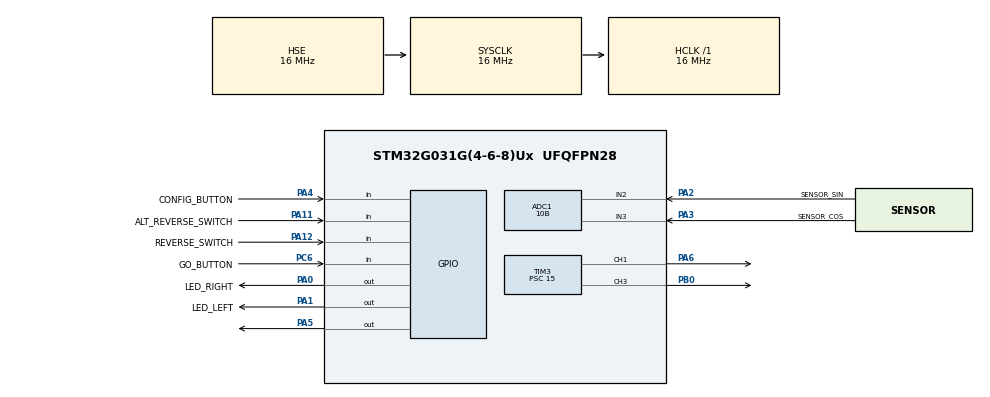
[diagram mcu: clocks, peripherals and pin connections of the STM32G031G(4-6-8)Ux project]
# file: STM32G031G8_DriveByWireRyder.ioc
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ADC1.ContinuousConvMode=ENABLE
ADC1.DMAContinuousRequests=DISABLE
ADC1.EOCSelection=ADC_EOC_SEQ_CONV
ADC1.NbrOfConversion=1
ADC1.NbrOfConversionFlag=0
ADC1.Overrun=ADC_OVR_DATA_OVERWRITTEN
ADC1.Resolution=ADC_RESOLUTION_10B
ADC1.SamplingTimeCommon1=ADC_SAMPLETIME_19CYCLES_5
ADC1.SelectedChannel=ADC_CHANNEL_2|ADC_CHANNEL_3
ADC1.Sequencer=NOT_FULLY_CONFIGURABLE
ADC1.master=1
Dma.ADC1.0.Direction=DMA_PERIPH_TO_MEMORY
Dma.ADC1.0.EventEnable=DISABLE
Dma.ADC1.0.Instance=DMA1_Channel1
Dma.ADC1.0.MemDataAlignment=DMA_MDATAALIGN_WORD
Dma.ADC1.0.MemInc=DMA_MINC_ENABLE
Dma.ADC1.0.Mode=DMA_NORMAL
Dma.ADC1.0.PeriphDataAlignment=DMA_PDATAALIGN_WORD
Dma.ADC1.0.PeriphInc=DMA_PINC_DISABLE
Dma.ADC1.0.Polarity=HAL_DMAMUX_REQ_GEN_RISING
Dma.ADC1.0.Priority=DMA_PRIORITY_LOW
Dma.ADC1.0.RequestNumber=1
Dma.ADC1.0.SignalID=NONE
Dma.ADC1.0.SyncEnable=DISABLE
Dma.ADC1.0.SyncPolarity=HAL_DMAMUX_SYNC_NO_EVENT
Dma.ADC1.0.SyncRequestNumber=1
Dma.ADC1.0.SyncSignalID=NONE
Dma.Request0=ADC1
Mcu.Family=STM32G0
Mcu.Name=STM32G031G(4-6-8)Ux
Mcu.Package=UFQFPN28
NVIC.DMA1_Channel1_IRQn=true\:0\:0\:false\:false\:true\:false\:true\:true
PA0.GPIO_Label=LED_RIGHT
PA0.PinState=GPIO_PIN_RESET
PA0.Signal=GPIO_Output
PA1.GPIO_Label=LED_LEFT
PA1.Signal=GPIO_Output
PA11\ [PA9].GPIO_Label=ALT_REVERSE_SWITCH
PA11\ [PA9].GPIO_PuPd=GPIO_PULLUP
PA11\ [PA9].Signal=GPIO_Input
PA12\ [PA10].GPIO_Label=REVERSE_SWITCH
PA12\ [PA10].GPIO_PuPd=GPIO_PULLUP
PA12\ [PA10].Signal=GPIO_Input
PA13.Mode=Serial_Wire
PA13.Signal=SYS_SWDIO
PA14-BOOT0.Mode=Serial_Wire
PA14-BOOT0.Signal=SYS_SWCLK
PA2.GPIO_Label=SENSOR_SIN
PA2.Signal=SharedAnalog_PA2
PA3.GPIO_Label=SENSOR_COS
PA3.Signal=SharedAnalog_PA3
PA4.GPIO_Label=CONFIG_BUTTON
PA4.GPIO_PuPd=GPIO_PULLUP
PA4.Signal=GPIO_Input
PA5.PinState=GPIO_PIN_SET
PA5.Signal=GPIO_Output
PA6.Signal=S_TIM3_CH1
PB0.Signal=S_TIM3_CH3
PC14-OSC32_IN\ (PC14).Mode=HSE-External-Clock-Source
PC14-OSC32_IN\ (PC14).Signal=RCC_OSC_IN
PC6.GPIO_Label=GO_BUTTON
PC6.GPIO_PuPd=GPIO_PULLUP
PC6.Signal=GPIO_Input
ProjectManager.HeapSize=0x200
ProjectManager.StackSize=0x400
ProjectManager.TargetToolchain=STM32CubeIDE
RCC.ADCFreq_Value=16000000
RCC.AHBFreq_Value=16000000
RCC.CortexFreq_Value=16000000
RCC.EXTERNAL_CLOCK_VALUE=12288000
RCC.HCLKFreq_Value=16000000
RCC.HSE_VALUE=16000000
RCC.HSI_VALUE=16000000
RCC.LSE_VALUE=32768
RCC.PLLSourceVirtual=RCC_PLLSOURCE_HSE
RCC.SYSCLKFreq_VALUE=16000000
RCC.SYSCLKSource=RCC_SYSCLKSOURCE_HSE
RCC.VCOOutputFreq_Value=128000000
SH.S_TIM3_CH1.0=TIM3_CH1,PWM Generation1 CH1
SH.S_TIM3_CH3.0=TIM3_CH3,PWM Generation3 CH3
SH.SharedAnalog_PA2.0=GPIO_Analog
SH.SharedAnalog_PA2.1=ADC1_IN2,IN2
SH.SharedAnalog_PA3.0=GPIO_Analog
SH.SharedAnalog_PA3.1=ADC1_IN3,IN3
TIM3.Channel-PWM\ Generation1\ CH1=TIM_CHANNEL_1
TIM3.Channel-PWM\ Generation3\ CH3=TIM_CHANNEL_3
TIM3.Period=1000
TIM3.Prescaler=15
TIM3.Pulse-PWM\ Generation1\ CH1=500
board=custom

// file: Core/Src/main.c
/* USER CODE BEGIN Header */
/**
  ******************************************************************************
  * @file           : main.c
  * @brief          : Main program body
  ******************************************************************************
  * @attention
  *
  * Copyright (c) 2026 STMicroelectronics.
  * All rights reserved.
  *
  * This software is licensed under terms that can be found in the LICENSE file
  * in the root directory of this software component.
  * If no LICENSE file comes with this software, it is provided AS-IS.
  *
  ******************************************************************************
  */
/* USER CODE END Header */
#include "main.h"

/* USER CODE BEGIN PD */
#define MIN_SIN_SENSOR	425
#define MAX_SIN_SENSOR	630
#define MIN_SENSOR	350
#define MAX_SENSOR	700

// Read the Go Button and Reverse Switch and select one of the three options
#define THROTTLE_OFF 500
#define THROTTLE_FORWARD 800
#define THROTTLE_REVERSE 200

// Take the reading from the magnetic sensor and apply it's reading to the
// range below.
#define STEERING_LEFT 200
#define STEERING_RIGHT 800

#define CONFIG_THRESHOLD 1000
/* USER CODE END PD */

ADC_HandleTypeDef hadc1;
DMA_HandleTypeDef hdma_adc1;

TIM_HandleTypeDef htim3;

void SystemClock_Config(void);
static void MX_GPIO_Init(void);
static void MX_DMA_Init(void);
static void MX_TIM3_Init(void);
static void MX_ADC1_Init(void);

/* USER CODE BEGIN 0 */
long map(long x, long in_min, long in_max, long out_min, long out_max) {
  return (x - in_min) * (out_max - out_min) / (in_max - in_min) + out_min;
}
/* USER CODE END 0 */

int main(void)
{

  /* USER CODE BEGIN 1 */
	uint16_t pwmSteering = (STEERING_LEFT + STEERING_RIGHT) / 2;
	uint16_t pwmThrottle = THROTTLE_OFF;
	int throttleOn = 0;

	uint32_t configPressStartTime;
	uint8_t isConfigPressed = 0;
	uint8_t isInConfig = 0;

	uint32_t sensorData[2];
	uint32_t prevRawCosData;
	uint32_t rawSinData;
	uint32_t rawCosData;
	uint32_t finalData;
	uint8_t  startupComplete = 0;
  /* USER CODE END 1 */

  /* MCU Configuration--------------------------------------------------------*/

  /* Reset of all peripherals, Initializes the Flash interface and the Systick. */
  HAL_Init();

  /* Configure the system clock */
  SystemClock_Config();

  /* Initialize all configured peripherals */
  MX_GPIO_Init();
  MX_DMA_Init();
  MX_TIM3_Init();
  MX_ADC1_Init();
  /* USER CODE BEGIN 2 */
  HAL_TIM_PWM_Start(&htim3, TIM_CHANNEL_1);
  HAL_TIM_PWM_Start(&htim3, TIM_CHANNEL_3);

  HAL_ADC_Start_DMA(&hadc1, sensorData, 2);
  /* USER CODE END 2 */

  /* Infinite loop */
  /* USER CODE BEGIN WHILE */
  while (1)
  {
		// Get ADC values
		rawSinData = sensorData[0];
		prevRawCosData = rawCosData;
		rawCosData = sensorData[1];

	  	if (! HAL_GPIO_ReadPin(CONFIG_BUTTON_GPIO_Port, CONFIG_BUTTON_Pin)) {
	  		if (!isConfigPressed) {
	  			isConfigPressed = 1;
	  			configPressStartTime = HAL_GetTick();
	  		}
	  		HAL_GPIO_WritePin(LED_LEFT_GPIO_Port, LED_LEFT_Pin, GPIO_PIN_SET);

	  		if (HAL_GetTick() - configPressStartTime > CONFIG_THRESHOLD) {
	  			isInConfig = 1;
	  			HAL_GPIO_WritePin(LED_RIGHT_GPIO_Port, LED_RIGHT_Pin, GPIO_PIN_SET);
	  		}
	  	} else {
	  		isConfigPressed = 0;
	  		HAL_GPIO_WritePin(LED_LEFT_GPIO_Port, LED_LEFT_Pin, GPIO_PIN_RESET);
	  	}

		/*
		if (rawSinData < MIN_SIN_SENSOR) {
			finalData += rawCosData - prevRawCosData;
		} else if (rawSinData > MAX_SIN_SENSOR) {
			finalData -= rawCosData - prevRawCosData;
		} else {
			finalData = rawSinData;
			startupComplete = 1;
		}
		*/

		finalData = rawSinData;
		startupComplete = 1;

		if (startupComplete) {
			pwmSteering = map(finalData, MIN_SENSOR, MAX_SENSOR, STEERING_LEFT, STEERING_RIGHT);
		} else {
			pwmSteering = (STEERING_LEFT + STEERING_RIGHT)  / 2;
		}

		if (pwmSteering > STEERING_RIGHT) {
			pwmSteering = STEERING_RIGHT;
		} else if (pwmSteering < STEERING_LEFT) {
			pwmSteering = STEERING_LEFT;
		}

		HAL_ADC_Start_DMA(&hadc1, sensorData, 2);

		throttleOn = ! HAL_GPIO_ReadPin(GO_BUTTON_GPIO_Port, GO_BUTTON_Pin);

		// No longer using the reverse switch on the steering column
		if (throttleOn) {
			pwmThrottle = THROTTLE_FORWARD;
		} else {
			pwmThrottle = THROTTLE_OFF;
		}

		__HAL_TIM_SET_COMPARE(&htim3, TIM_CHANNEL_3, pwmSteering);
		__HAL_TIM_SET_COMPARE(&htim3, TIM_CHANNEL_1, pwmThrottle);
    /* USER CODE END WHILE */

  }
}

void SystemClock_Config(void)
{
  RCC_OscInitTypeDef RCC_OscInitStruct = {0};
  RCC_ClkInitTypeDef RCC_ClkInitStruct = {0};

  /** Configure the main internal regulator output voltage
  */
  HAL_PWREx_ControlVoltageScaling(PWR_REGULATOR_VOLTAGE_SCALE1);

  /** Initializes the RCC Oscillators according to the specified parameters
  * in the RCC_OscInitTypeDef structure.
  */
  RCC_OscInitStruct.OscillatorType = RCC_OSCILLATORTYPE_HSE;
  RCC_OscInitStruct.HSEState = RCC_HSE_BYPASS;
  RCC_OscInitStruct.PLL.PLLState = RCC_PLL_NONE;
  if (HAL_RCC_OscConfig(&RCC_OscInitStruct) != HAL_OK)
  {
    Error_Handler();
  }

  /** Initializes the CPU, AHB and APB buses clocks
  */
  RCC_ClkInitStruct.ClockType = RCC_CLOCKTYPE_HCLK|RCC_CLOCKTYPE_SYSCLK
                              |RCC_CLOCKTYPE_PCLK1;
  RCC_ClkInitStruct.SYSCLKSource = RCC_SYSCLKSOURCE_HSE;
  RCC_ClkInitStruct.AHBCLKDivider = RCC_SYSCLK_DIV1;
  RCC_ClkInitStruct.APB1CLKDivider = RCC_HCLK_DIV1;

  if (HAL_RCC_ClockConfig(&RCC_ClkInitStruct, FLASH_LATENCY_0) != HAL_OK)
  {
    Error_Handler();
  }
}

static void MX_ADC1_Init(void)
{

  ADC_ChannelConfTypeDef sConfig = {0};

  /** Configure the global features of the ADC (Clock, Resolution, Data Alignment and number of conversion)
  */
  hadc1.Instance = ADC1;
  hadc1.Init.ClockPrescaler = ADC_CLOCK_SYNC_PCLK_DIV2;
  hadc1.Init.Resolution = ADC_RESOLUTION_10B;
  hadc1.Init.DataAlign = ADC_DATAALIGN_RIGHT;
  hadc1.Init.ScanConvMode = ADC_SCAN_SEQ_FIXED;
  hadc1.Init.EOCSelection = ADC_EOC_SEQ_CONV;
  hadc1.Init.LowPowerAutoWait = DISABLE;
  hadc1.Init.LowPowerAutoPowerOff = DISABLE;
  hadc1.Init.ContinuousConvMode = ENABLE;
  hadc1.Init.NbrOfConversion = 1;
  hadc1.Init.ExternalTrigConv = ADC_SOFTWARE_START;
  hadc1.Init.ExternalTrigConvEdge = ADC_EXTERNALTRIGCONVEDGE_NONE;
  hadc1.Init.DMAContinuousRequests = DISABLE;
  hadc1.Init.Overrun = ADC_OVR_DATA_OVERWRITTEN;
  hadc1.Init.SamplingTimeCommon1 = ADC_SAMPLETIME_19CYCLES_5;
  hadc1.Init.OversamplingMode = DISABLE;
  hadc1.Init.TriggerFrequencyMode = ADC_TRIGGER_FREQ_HIGH;
  if (HAL_ADC_Init(&hadc1) != HAL_OK)
  {
    Error_Handler();
  }

  /** Configure Regular Channel
  */
  sConfig.Channel = ADC_CHANNEL_2;
  sConfig.Rank = ADC_RANK_CHANNEL_NUMBER;
  if (HAL_ADC_ConfigChannel(&hadc1, &sConfig) != HAL_OK)
  {
    Error_Handler();
  }

  /** Configure Regular Channel
  */
  sConfig.Channel = ADC_CHANNEL_3;
  if (HAL_ADC_ConfigChannel(&hadc1, &sConfig) != HAL_OK)
  {
    Error_Handler();
  }

}

static void MX_TIM3_Init(void)
{

  TIM_MasterConfigTypeDef sMasterConfig = {0};
  TIM_OC_InitTypeDef sConfigOC = {0};

  htim3.Instance = TIM3;
  htim3.Init.Prescaler = 15;
  htim3.Init.CounterMode = TIM_COUNTERMODE_UP;
  htim3.Init.Period = 1000;
  htim3.Init.ClockDivision = TIM_CLOCKDIVISION_DIV1;
  htim3.Init.AutoReloadPreload = TIM_AUTORELOAD_PRELOAD_DISABLE;
  if (HAL_TIM_PWM_Init(&htim3) != HAL_OK)
  {
    Error_Handler();
  }
  sMasterConfig.MasterOutputTrigger = TIM_TRGO_RESET;
  sMasterConfig.MasterSlaveMode = TIM_MASTERSLAVEMODE_DISABLE;
  if (HAL_TIMEx_MasterConfigSynchronization(&htim3, &sMasterConfig) != HAL_OK)
  {
    Error_Handler();
  }
  sConfigOC.OCMode = TIM_OCMODE_PWM1;
  sConfigOC.Pulse = 500;
  sConfigOC.OCPolarity = TIM_OCPOLARITY_HIGH;
  sConfigOC.OCFastMode = TIM_OCFAST_DISABLE;
  if (HAL_TIM_PWM_ConfigChannel(&htim3, &sConfigOC, TIM_CHANNEL_1) != HAL_OK)
  {
    Error_Handler();
  }
  sConfigOC.Pulse = 0;
  if (HAL_TIM_PWM_ConfigChannel(&htim3, &sConfigOC, TIM_CHANNEL_3) != HAL_OK)
  {
    Error_Handler();
  }
  HAL_TIM_MspPostInit(&htim3);

}

static void MX_DMA_Init(void)
{

  /* DMA controller clock enable */
  __HAL_RCC_DMA1_CLK_ENABLE();

  /* DMA interrupt init */
  /* DMA1_Channel1_IRQn interrupt configuration */
  HAL_NVIC_SetPriority(DMA1_Channel1_IRQn, 0, 0);
  HAL_NVIC_EnableIRQ(DMA1_Channel1_IRQn);

}

static void MX_GPIO_Init(void)
{
  GPIO_InitTypeDef GPIO_InitStruct = {0};

  /* GPIO Ports Clock Enable */
  __HAL_RCC_GPIOC_CLK_ENABLE();
  __HAL_RCC_GPIOA_CLK_ENABLE();
  __HAL_RCC_GPIOB_CLK_ENABLE();

  /*Configure GPIO pin Output Level */
  HAL_GPIO_WritePin(GPIOA, LED_RIGHT_Pin|LED_LEFT_Pin, GPIO_PIN_RESET);

  /*Configure GPIO pin Output Level */
  HAL_GPIO_WritePin(GPIOA, GPIO_PIN_5, GPIO_PIN_SET);

  /*Configure GPIO pins : LED_RIGHT_Pin LED_LEFT_Pin PA5 */
  GPIO_InitStruct.Pin = LED_RIGHT_Pin|LED_LEFT_Pin|GPIO_PIN_5;
  GPIO_InitStruct.Mode = GPIO_MODE_OUTPUT_PP;
  GPIO_InitStruct.Pull = GPIO_NOPULL;
  GPIO_InitStruct.Speed = GPIO_SPEED_FREQ_LOW;
  HAL_GPIO_Init(GPIOA, &GPIO_InitStruct);

  /*Configure GPIO pins : CONFIG_BUTTON_Pin ALT_REVERSE_SWITCH_Pin REVERSE_SWITCH_Pin */
  GPIO_InitStruct.Pin = CONFIG_BUTTON_Pin|ALT_REVERSE_SWITCH_Pin|REVERSE_SWITCH_Pin;
  GPIO_InitStruct.Mode = GPIO_MODE_INPUT;
  GPIO_InitStruct.Pull = GPIO_PULLUP;
  HAL_GPIO_Init(GPIOA, &GPIO_InitStruct);

  /*Configure GPIO pin : GO_BUTTON_Pin */
  GPIO_InitStruct.Pin = GO_BUTTON_Pin;
  GPIO_InitStruct.Mode = GPIO_MODE_INPUT;
  GPIO_InitStruct.Pull = GPIO_PULLUP;
  HAL_GPIO_Init(GO_BUTTON_GPIO_Port, &GPIO_InitStruct);

}

void Error_Handler(void)
{
  __disable_irq();
  while (1)
  {
  }
}
